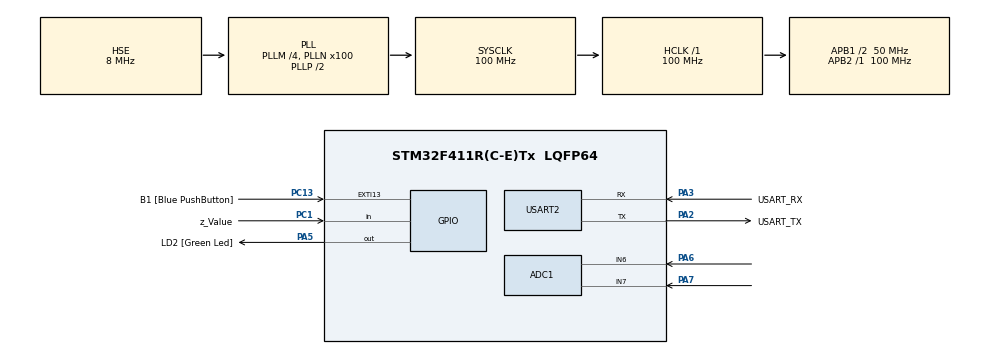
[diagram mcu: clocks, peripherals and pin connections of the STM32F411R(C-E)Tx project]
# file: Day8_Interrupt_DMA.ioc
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ADC1.Channel-0\#ChannelRegularConversion=ADC_CHANNEL_6
ADC1.Channel-1\#ChannelRegularConversion=ADC_CHANNEL_7
ADC1.DMAContinuousRequests=ENABLE
ADC1.EOCSelection=ADC_EOC_SEQ_CONV
ADC1.ExternalTrigConv=ADC_EXTERNALTRIGCONV_T3_TRGO
ADC1.NbrOfConversion=2
ADC1.NbrOfConversionFlag=1
ADC1.Rank-0\#ChannelRegularConversion=1
ADC1.Rank-1\#ChannelRegularConversion=2
ADC1.SamplingTime-0\#ChannelRegularConversion=ADC_SAMPLETIME_84CYCLES
ADC1.SamplingTime-1\#ChannelRegularConversion=ADC_SAMPLETIME_84CYCLES
ADC1.ScanConvMode=ENABLE
ADC1.master=1
Dma.ADC1.0.Direction=DMA_PERIPH_TO_MEMORY
Dma.ADC1.0.FIFOMode=DMA_FIFOMODE_DISABLE
Dma.ADC1.0.Instance=DMA2_Stream0
Dma.ADC1.0.MemDataAlignment=DMA_MDATAALIGN_HALFWORD
Dma.ADC1.0.MemInc=DMA_MINC_ENABLE
Dma.ADC1.0.Mode=DMA_CIRCULAR
Dma.ADC1.0.PeriphDataAlignment=DMA_PDATAALIGN_HALFWORD
Dma.ADC1.0.PeriphInc=DMA_PINC_DISABLE
Dma.ADC1.0.Priority=DMA_PRIORITY_LOW
Dma.Request0=ADC1
Mcu.Family=STM32F4
Mcu.Name=STM32F411R(C-E)Tx
Mcu.Package=LQFP64
NVIC.ADC_IRQn=true\:0\:0\:false\:false\:true\:true\:true\:true
NVIC.DMA2_Stream0_IRQn=true\:0\:0\:false\:false\:true\:false\:true\:true
NVIC.PriorityGroup=NVIC_PRIORITYGROUP_0
PA13.GPIO_Label=TMS
PA13.Mode=Serial_Wire
PA13.Signal=SYS_JTMS-SWDIO
PA14.GPIO_Label=TCK
PA14.Mode=Serial_Wire
PA14.Signal=SYS_JTCK-SWCLK
PA2.GPIO_Label=USART_TX
PA2.Mode=Asynchronous
PA2.Signal=USART2_TX
PA3.GPIO_Label=USART_RX
PA3.Mode=Asynchronous
PA3.Signal=USART2_RX
PA5.GPIO_Label=LD2 [Green Led]
PA5.Signal=GPIO_Output
PA6.Signal=ADCx_IN6
PA7.Signal=ADCx_IN7
PB3.GPIO_Label=SWO
PB3.Signal=SYS_JTDO-SWO
PC1.GPIO_Label=z_Value
PC1.GPIO_PuPd=GPIO_PULLUP
PC1.Signal=GPIO_Input
PC13-ANTI_TAMP.GPIO_Label=B1 [Blue PushButton]
PC13-ANTI_TAMP.GPIO_ModeDefaultEXTI=GPIO_MODE_IT_FALLING
PC13-ANTI_TAMP.Signal=GPXTI13
PC14-OSC32_IN.Mode=LSE-External-Oscillator
PC14-OSC32_IN.Signal=RCC_OSC32_IN
PC15-OSC32_OUT.Mode=LSE-External-Oscillator
PC15-OSC32_OUT.Signal=RCC_OSC32_OUT
PH0\ -\ OSC_IN.Mode=HSE-External-Clock-Source
PH0\ -\ OSC_IN.Signal=RCC_OSC_IN
PH1\ -\ OSC_OUT.Mode=HSE-External-Clock-Source
PH1\ -\ OSC_OUT.Signal=RCC_OSC_OUT
ProjectManager.HeapSize=0x200
ProjectManager.StackSize=0x400
ProjectManager.TargetToolchain=STM32CubeIDE
RCC.48MHZClocksFreq_Value=50000000
RCC.AHBFreq_Value=100000000
RCC.APB1CLKDivider=RCC_HCLK_DIV2
RCC.APB1Freq_Value=50000000
RCC.APB1TimFreq_Value=100000000
RCC.APB2Freq_Value=100000000
RCC.APB2TimFreq_Value=100000000
RCC.CortexFreq_Value=100000000
RCC.FLatency-AdvancedSettings=FLASH_LATENCY_3
RCC.HCLKFreq_Value=100000000
RCC.HSE_VALUE=8000000
RCC.HSI_VALUE=16000000
RCC.PLLM=4
RCC.PLLN=100
RCC.PLLSourceVirtual=RCC_PLLSOURCE_HSE
RCC.SYSCLKFreq_VALUE=100000000
RCC.SYSCLKSource=RCC_SYSCLKSOURCE_PLLCLK
RCC.VCOOutputFreq_Value=200000000
SH.ADCx_IN6.0=ADC1_IN6,IN6
SH.ADCx_IN7.0=ADC1_IN7,IN7
TIM3.Period=5000-1
TIM3.Prescaler=10000-1
TIM3.TIM_MasterOutputTrigger=TIM_TRGO_UPDATE
USART2.VirtualMode=VM_ASYNC
VP_TIM3_VS_ClockSourceINT.Mode=Internal
board=NUCLEO-F411RE

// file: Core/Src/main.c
/* USER CODE BEGIN Header */
/**
  ******************************************************************************
  * @file           : main.c
  * @brief          : Main program body
  ******************************************************************************
  * @attention
  *
  * Copyright (c) 2023 STMicroelectronics.
  * All rights reserved.
  *
  * This software is licensed under terms that can be found in the LICENSE file
  * in the root directory of this software component.
  * If no LICENSE file comes with this software, it is provided AS-IS.
  *
  ******************************************************************************
  */
/* USER CODE END Header */
#include "main.h"

ADC_HandleTypeDef hadc1;
DMA_HandleTypeDef hdma_adc1;

TIM_HandleTypeDef htim3;

UART_HandleTypeDef huart2;

/* USER CODE BEGIN PV */
int xVal, yVal, zVal;
int count;
short int buf[100];
/* USER CODE END PV */

void SystemClock_Config(void);
static void MX_GPIO_Init(void);
static void MX_DMA_Init(void);
static void MX_USART2_UART_Init(void);
static void MX_ADC1_Init(void);
static void MX_TIM3_Init(void);
/* USER CODE BEGIN PFP */

int __io_putchar(int ch)
{
	HAL_UART_Transmit(&huart2, &ch, 1, 100);
	return ch;
}

void JoyStick(int op)
{
	HAL_ADC_Start(&hadc1);
	HAL_ADC_PollForConversion(&hadc1, 100);
	xVal = HAL_ADC_GetValue(&hadc1);

	HAL_ADC_PollForConversion(&hadc1, 100);
	yVal = HAL_ADC_GetValue(&hadc1);
	HAL_ADC_Stop(&hadc1);

	zVal = !(HAL_GPIO_ReadPin(z_Value_GPIO_Port, z_Value_Pin));

	if(op)	printf("x : %5d, y : %5d, z : %d \r\n", xVal, yVal, zVal);
}

//void HAL_ADC_ConvCpltCallback(ADC_HandleTypeDef* hadc)
//{
//	//zVal = !(HAL_GPIO_ReadPin(z_Value_GPIO_Port, z_Value_Pin));
//	if(count == 0) xVal = HAL_ADC_GetValue(&hadc1);
//	else if(count == 1)
//	{
//		yVal = HAL_ADC_GetValue(&hadc1);
//		// printf("x : %5d, y : %5d, z : %d \r\n", xVal, yVal, zVal);
//	}
//
//	count++; // callback 1회 호출 시마다 value 하나씩 가져옴
//	if(count > 1) count = 0;
//	// if(++count > 1) count = 0; // 이렇게도 쓸 수 있다.
//	HAL_ADC_Start_IT(&hadc1);
//}
/* USER CODE END PFP */

int main(void)
{

  /* MCU Configuration--------------------------------------------------------*/

  /* Reset of all peripherals, Initializes the Flash interface and the Systick. */
  HAL_Init();

  /* Configure the system clock */
  SystemClock_Config();

  /* Initialize all configured peripherals */
  MX_GPIO_Init();
  MX_DMA_Init();
  MX_USART2_UART_Init();
  MX_ADC1_Init();
  MX_TIM3_Init();
  /* USER CODE BEGIN 2 */
  printf("Hello! Program Start! \r\n");
  HAL_TIM_Base_Start(&htim3);
  HAL_ADC_Start_DMA(&hadc1, buf, 2); // 두 개의 신호를 번갈아 가면서 받아야되기 때문에 buf의 총 배열 수인 100을 써버리면 값이 계속 쌓이면서 오류가 발생하게된다.
  /* USER CODE END 2 */

  /* Infinite loop */
  while (1)
  {

    /* USER CODE BEGIN 3 */
	//JoyStick(1);
	zVal = !(HAL_GPIO_ReadPin(z_Value_GPIO_Port, z_Value_Pin));
	//printf("x : %5d, y : %5d, z : %d \r\n", xVal, yVal, zVal);
	printf("x : %5d, y : %5d, z : %d \r\n", buf[0], buf[1], zVal);
	HAL_Delay(150);
  }
  /* USER CODE END 3 */
}

void SystemClock_Config(void)
{
  RCC_OscInitTypeDef RCC_OscInitStruct = {0};
  RCC_ClkInitTypeDef RCC_ClkInitStruct = {0};

  /** Configure the main internal regulator output voltage
  */
  __HAL_RCC_PWR_CLK_ENABLE();
  __HAL_PWR_VOLTAGESCALING_CONFIG(PWR_REGULATOR_VOLTAGE_SCALE1);

  /** Initializes the RCC Oscillators according to the specified parameters
  * in the RCC_OscInitTypeDef structure.
  */
  RCC_OscInitStruct.OscillatorType = RCC_OSCILLATORTYPE_HSE;
  RCC_OscInitStruct.HSEState = RCC_HSE_BYPASS;
  RCC_OscInitStruct.PLL.PLLState = RCC_PLL_ON;
  RCC_OscInitStruct.PLL.PLLSource = RCC_PLLSOURCE_HSE;
  RCC_OscInitStruct.PLL.PLLM = 4;
  RCC_OscInitStruct.PLL.PLLN = 100;
  RCC_OscInitStruct.PLL.PLLP = RCC_PLLP_DIV2;
  RCC_OscInitStruct.PLL.PLLQ = 4;
  if (HAL_RCC_OscConfig(&RCC_OscInitStruct) != HAL_OK)
  {
    Error_Handler();
  }

  /** Initializes the CPU, AHB and APB buses clocks
  */
  RCC_ClkInitStruct.ClockType = RCC_CLOCKTYPE_HCLK|RCC_CLOCKTYPE_SYSCLK
                              |RCC_CLOCKTYPE_PCLK1|RCC_CLOCKTYPE_PCLK2;
  RCC_ClkInitStruct.SYSCLKSource = RCC_SYSCLKSOURCE_PLLCLK;
  RCC_ClkInitStruct.AHBCLKDivider = RCC_SYSCLK_DIV1;
  RCC_ClkInitStruct.APB1CLKDivider = RCC_HCLK_DIV2;
  RCC_ClkInitStruct.APB2CLKDivider = RCC_HCLK_DIV1;

  if (HAL_RCC_ClockConfig(&RCC_ClkInitStruct, FLASH_LATENCY_3) != HAL_OK)
  {
    Error_Handler();
  }
}

static void MX_ADC1_Init(void)
{

  ADC_ChannelConfTypeDef sConfig = {0};

  /** Configure the global features of the ADC (Clock, Resolution, Data Alignment and number of conversion)
  */
  hadc1.Instance = ADC1;
  hadc1.Init.ClockPrescaler = ADC_CLOCK_SYNC_PCLK_DIV4;
  hadc1.Init.Resolution = ADC_RESOLUTION_12B;
  hadc1.Init.ScanConvMode = ENABLE;
  hadc1.Init.ContinuousConvMode = DISABLE;
  hadc1.Init.DiscontinuousConvMode = DISABLE;
  hadc1.Init.ExternalTrigConvEdge = ADC_EXTERNALTRIGCONVEDGE_RISING;
  hadc1.Init.ExternalTrigConv = ADC_EXTERNALTRIGCONV_T3_TRGO;
  hadc1.Init.DataAlign = ADC_DATAALIGN_RIGHT;
  hadc1.Init.NbrOfConversion = 2;
  hadc1.Init.DMAContinuousRequests = ENABLE;
  hadc1.Init.EOCSelection = ADC_EOC_SEQ_CONV;
  if (HAL_ADC_Init(&hadc1) != HAL_OK)
  {
    Error_Handler();
  }

  /** Configure for the selected ADC regular channel its corresponding rank in the sequencer and its sample time.
  */
  sConfig.Channel = ADC_CHANNEL_6;
  sConfig.Rank = 1;
  sConfig.SamplingTime = ADC_SAMPLETIME_84CYCLES;
  if (HAL_ADC_ConfigChannel(&hadc1, &sConfig) != HAL_OK)
  {
    Error_Handler();
  }

  /** Configure for the selected ADC regular channel its corresponding rank in the sequencer and its sample time.
  */
  sConfig.Channel = ADC_CHANNEL_7;
  sConfig.Rank = 2;
  if (HAL_ADC_ConfigChannel(&hadc1, &sConfig) != HAL_OK)
  {
    Error_Handler();
  }

}

static void MX_TIM3_Init(void)
{

  TIM_ClockConfigTypeDef sClockSourceConfig = {0};
  TIM_MasterConfigTypeDef sMasterConfig = {0};

  htim3.Instance = TIM3;
  htim3.Init.Prescaler = 10000-1;
  htim3.Init.CounterMode = TIM_COUNTERMODE_UP;
  htim3.Init.Period = 5000-1;
  htim3.Init.ClockDivision = TIM_CLOCKDIVISION_DIV1;
  htim3.Init.AutoReloadPreload = TIM_AUTORELOAD_PRELOAD_DISABLE;
  if (HAL_TIM_Base_Init(&htim3) != HAL_OK)
  {
    Error_Handler();
  }
  sClockSourceConfig.ClockSource = TIM_CLOCKSOURCE_INTERNAL;
  if (HAL_TIM_ConfigClockSource(&htim3, &sClockSourceConfig) != HAL_OK)
  {
    Error_Handler();
  }
  sMasterConfig.MasterOutputTrigger = TIM_TRGO_UPDATE;
  sMasterConfig.MasterSlaveMode = TIM_MASTERSLAVEMODE_DISABLE;
  if (HAL_TIMEx_MasterConfigSynchronization(&htim3, &sMasterConfig) != HAL_OK)
  {
    Error_Handler();
  }

}

static void MX_USART2_UART_Init(void)
{

  huart2.Instance = USART2;
  huart2.Init.BaudRate = 115200;
  huart2.Init.WordLength = UART_WORDLENGTH_8B;
  huart2.Init.StopBits = UART_STOPBITS_1;
  huart2.Init.Parity = UART_PARITY_NONE;
  huart2.Init.Mode = UART_MODE_TX_RX;
  huart2.Init.HwFlowCtl = UART_HWCONTROL_NONE;
  huart2.Init.OverSampling = UART_OVERSAMPLING_16;
  if (HAL_UART_Init(&huart2) != HAL_OK)
  {
    Error_Handler();
  }

}

static void MX_DMA_Init(void)
{

  /* DMA controller clock enable */
  __HAL_RCC_DMA2_CLK_ENABLE();

  /* DMA interrupt init */
  /* DMA2_Stream0_IRQn interrupt configuration */
  HAL_NVIC_SetPriority(DMA2_Stream0_IRQn, 0, 0);
  HAL_NVIC_EnableIRQ(DMA2_Stream0_IRQn);

}

static void MX_GPIO_Init(void)
{
  GPIO_InitTypeDef GPIO_InitStruct = {0};

  /* GPIO Ports Clock Enable */
  __HAL_RCC_GPIOC_CLK_ENABLE();
  __HAL_RCC_GPIOH_CLK_ENABLE();
  __HAL_RCC_GPIOA_CLK_ENABLE();
  __HAL_RCC_GPIOB_CLK_ENABLE();

  /*Configure GPIO pin Output Level */
  HAL_GPIO_WritePin(LD2_GPIO_Port, LD2_Pin, GPIO_PIN_RESET);

  /*Configure GPIO pin : B1_Pin */
  GPIO_InitStruct.Pin = B1_Pin;
  GPIO_InitStruct.Mode = GPIO_MODE_IT_FALLING;
  GPIO_InitStruct.Pull = GPIO_NOPULL;
  HAL_GPIO_Init(B1_GPIO_Port, &GPIO_InitStruct);

  /*Configure GPIO pin : z_Value_Pin */
  GPIO_InitStruct.Pin = z_Value_Pin;
  GPIO_InitStruct.Mode = GPIO_MODE_INPUT;
  GPIO_InitStruct.Pull = GPIO_PULLUP;
  HAL_GPIO_Init(z_Value_GPIO_Port, &GPIO_InitStruct);

  /*Configure GPIO pin : LD2_Pin */
  GPIO_InitStruct.Pin = LD2_Pin;
  GPIO_InitStruct.Mode = GPIO_MODE_OUTPUT_PP;
  GPIO_InitStruct.Pull = GPIO_NOPULL;
  GPIO_InitStruct.Speed = GPIO_SPEED_FREQ_LOW;
  HAL_GPIO_Init(LD2_GPIO_Port, &GPIO_InitStruct);

}

void Error_Handler(void)
{
  __disable_irq();
  while (1)
  {
  }
}
